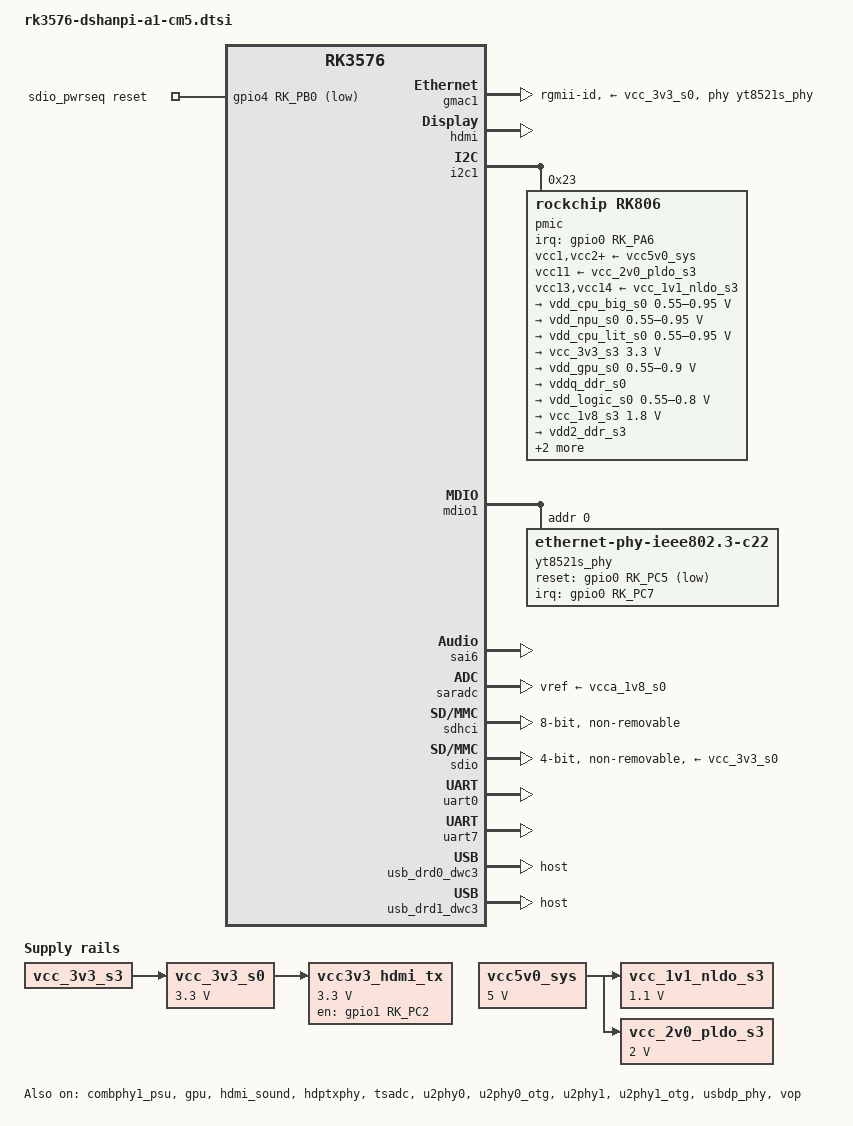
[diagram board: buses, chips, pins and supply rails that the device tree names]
// SPDX-License-Identifier: (GPL-2.0+ OR MIT)
/*
 * Copyright (c) 2026 sckiyo <sckiyo@outlook.com>
 *
 * 100ASK DshanPi A1 CM5 core module: RK3576 SoC, LPDDR4/4X,
 * optional eMMC, RK806S-5 PMIC, AIC8800D80 SDIO Wi-Fi + UART7 Bluetooth,
 * Motorcomm YT8521S GbE PHY on RGMII1.
 * The SoC HDMI port drives the Raspberry Pi HDMI0 pins.
 * Level shifters for those lanes sit on the module.
 * A carrier HDMI1 connector gets no HDMI signal from the module.
 * The module exposes three connectors, each numbered from 1.
 * CN1 and CN2 present the Raspberry Pi CM5 socket, positions 1-200.
 * CN1 holds positions 1-100. CN2 holds positions 101-200.
 * CN3 is a private module connector.
 * CN1 pin 19 is PWM1_CH0_M0 on GPIO0_B4.
 * CN1 pin 16 is open on the module.
 * PCIE0 CLKREQ is GPIO1_B6. PERST is GPIO1_B7. WAKE is GPIO0_C3.
 * GPIO1_C1 enables carrier USB VBUS.
 * GPIO4_C7 drives the activity LED.
 * Carrier devices live in the carrier .dts.
 */

#include <dt-bindings/gpio/gpio.h>
#include <dt-bindings/pinctrl/rockchip.h>
#include <dt-bindings/soc/rockchip,boot-mode.h>
#include <dt-bindings/soc/rockchip,vop2.h>
#include "rk3576.dtsi"

/ {
	aliases {
		ethernet0 = &gmac1;
		mmc0 = &sdhci;
		mmc1 = &sdmmc;
		mmc2 = &sdio;
	};

	sdio_pwrseq: sdio-pwrseq {
		compatible = "mmc-pwrseq-simple";
		pinctrl-names = "default";
		pinctrl-0 = <&wifi_reg_on_h>;
		post-power-on-delay-ms = <200>;
		reset-gpios = <&gpio4 RK_PB0 GPIO_ACTIVE_LOW>;
	};

	/* 5 V input from the carrier connector. */
	vcc5v0_sys: regulator-vcc5v0-sys {
		compatible = "regulator-fixed";
		regulator-always-on;
		regulator-boot-on;
		regulator-min-microvolt = <5000000>;
		regulator-max-microvolt = <5000000>;
		regulator-name = "vcc5v0_sys";
	};

	vcc_1v1_nldo_s3: regulator-vcc-1v1-nldo-s3 {
		compatible = "regulator-fixed";
		regulator-always-on;
		regulator-boot-on;
		regulator-min-microvolt = <1100000>;
		regulator-max-microvolt = <1100000>;
		regulator-name = "vcc_1v1_nldo_s3";
		vin-supply = <&vcc5v0_sys>;
	};

	vcc_2v0_pldo_s3: regulator-vcc-2v0-pldo-s3 {
		compatible = "regulator-fixed";
		regulator-always-on;
		regulator-boot-on;
		regulator-min-microvolt = <2000000>;
		regulator-max-microvolt = <2000000>;
		regulator-name = "vcc_2v0_pldo_s3";
		vin-supply = <&vcc5v0_sys>;
	};

	vcc_3v3_s0: regulator-vcc-3v3-s0 {
		compatible = "regulator-fixed";
		regulator-always-on;
		regulator-boot-on;
		regulator-min-microvolt = <3300000>;
		regulator-max-microvolt = <3300000>;
		regulator-name = "vcc_3v3_s0";
		vin-supply = <&vcc_3v3_s3>;
	};

	/* Enable for the HDMI level shifters (Q7-Q10, HDMI_TX_ON_H). */
	vcc3v3_hdmi_tx: regulator-vcc3v3-hdmi-tx {
		compatible = "regulator-fixed";
		enable-active-high;
		gpio = <&gpio1 RK_PC2 GPIO_ACTIVE_HIGH>;
		pinctrl-names = "default";
		pinctrl-0 = <&hdmi_tx_on_h>;
		regulator-always-on;
		regulator-boot-on;
		regulator-min-microvolt = <3300000>;
		regulator-max-microvolt = <3300000>;
		regulator-name = "vcc3v3_hdmi_tx";
		vin-supply = <&vcc_3v3_s0>;
	};
};

&combphy1_psu {
	status = "okay";
};

&cpu_b0 {
	cpu-supply = <&vdd_cpu_big_s0>;
};

&cpu_b1 {
	cpu-supply = <&vdd_cpu_big_s0>;
};

&cpu_b2 {
	cpu-supply = <&vdd_cpu_big_s0>;
};

&cpu_b3 {
	cpu-supply = <&vdd_cpu_big_s0>;
};

&cpu_l0 {
	cpu-supply = <&vdd_cpu_lit_s0>;
};

&cpu_l1 {
	cpu-supply = <&vdd_cpu_lit_s0>;
};

&cpu_l2 {
	cpu-supply = <&vdd_cpu_lit_s0>;
};

&cpu_l3 {
	cpu-supply = <&vdd_cpu_lit_s0>;
};

/*
 * YT8521S uses an on-module 25 MHz crystal.
 * The PHY adds 1.95 ns of TX and RX delay in rgmii-id mode.
 * Keep the MAC delays at 0. A non-zero MAC delay stacks on the PHY delay.
 * RGMII takes the MAC TX clock from the CRU. "input" selects the
 * ETH1_MCLK pad, which is not muxed, and the DMA reset then fails.
 */
&gmac1 {
	clock_in_out = "output";
	phy-handle = <&yt8521s_phy>;
	phy-mode = "rgmii-id";
	tx_delay = <0x00>;
	rx_delay = <0x00>;
	phy-supply = <&vcc_3v3_s0>;
	pinctrl-names = "default";
	pinctrl-0 = <&eth1m0_miim
		     &eth1m0_tx_bus2
		     &eth1m0_rx_bus2
		     &eth1m0_rgmii_clk
		     &eth1m0_rgmii_bus>;
	status = "okay";
};

&gpu {
	mali-supply = <&vdd_gpu_s0>;
	status = "okay";
};

&hdmi {
	pinctrl-names = "default";
	/* HDMI_TX_ON_H drives Q7-Q10. The vcc3v3_hdmi_tx regulator owns that pin. */
	pinctrl-0 = <&hdmi_txm0_pins &hdmi_tx_scl &hdmi_tx_sda>;
	status = "okay";
};

&hdmi_in {
	hdmi_in_vp0: endpoint {
		remote-endpoint = <&vp0_out_hdmi>;
	};
};

&hdmi_sound {
	status = "okay";
};

&hdptxphy {
	status = "okay";
};

&i2c1 {
	status = "okay";

	pmic@23 {
		compatible = "rockchip,rk806";
		reg = <0x23>;
		#gpio-cells = <2>;
		gpio-controller;
		interrupt-parent = <&gpio0>;
		interrupts = <RK_PA6 IRQ_TYPE_LEVEL_LOW>;
		pinctrl-names = "default";
		pinctrl-0 = <&pmic_pins
			     &rk806_dvs1_null
			     &rk806_dvs2_null
			     &rk806_dvs3_null>;
		system-power-controller;
		vcc1-supply = <&vcc5v0_sys>;
		vcc2-supply = <&vcc5v0_sys>;
		vcc3-supply = <&vcc5v0_sys>;
		vcc4-supply = <&vcc5v0_sys>;
		vcc5-supply = <&vcc5v0_sys>;
		vcc6-supply = <&vcc5v0_sys>;
		vcc7-supply = <&vcc5v0_sys>;
		vcc8-supply = <&vcc5v0_sys>;
		vcc9-supply = <&vcc5v0_sys>;
		vcc10-supply = <&vcc5v0_sys>;
		vcc11-supply = <&vcc_2v0_pldo_s3>;
		vcc12-supply = <&vcc5v0_sys>;
		vcc13-supply = <&vcc_1v1_nldo_s3>;
		vcc14-supply = <&vcc_1v1_nldo_s3>;
		vcca-supply = <&vcc5v0_sys>;

		rk806_dvs1_null: dvs1-null-pins {
			pins = "gpio_pwrctrl1";
			function = "pin_fun0";
		};

		rk806_dvs2_null: dvs2-null-pins {
			pins = "gpio_pwrctrl2";
			function = "pin_fun0";
		};

		rk806_dvs3_null: dvs3-null-pins {
			pins = "gpio_pwrctrl3";
			function = "pin_fun0";
		};

		regulators {
			vdd_cpu_big_s0: dcdc-reg1 {
				regulator-always-on;
				regulator-boot-on;
				regulator-enable-ramp-delay = <400>;
				regulator-min-microvolt = <550000>;
				regulator-max-microvolt = <950000>;
				regulator-name = "vdd_cpu_big_s0";
				regulator-ramp-delay = <12500>;
				regulator-state-mem {
					regulator-off-in-suspend;
				};
			};

			vdd_npu_s0: dcdc-reg2 {
				regulator-boot-on;
				regulator-enable-ramp-delay = <400>;
				regulator-min-microvolt = <550000>;
				regulator-max-microvolt = <950000>;
				regulator-name = "vdd_npu_s0";
				regulator-ramp-delay = <12500>;
				regulator-state-mem {
					regulator-off-in-suspend;
				};
			};

			vdd_cpu_lit_s0: dcdc-reg3 {
				regulator-always-on;
				regulator-boot-on;
				regulator-min-microvolt = <550000>;
				regulator-max-microvolt = <950000>;
				regulator-name = "vdd_cpu_lit_s0";
				regulator-ramp-delay = <12500>;
				regulator-state-mem {
					regulator-off-in-suspend;
					regulator-suspend-microvolt = <750000>;
				};
			};

			vcc_3v3_s3: dcdc-reg4 {
				regulator-always-on;
				regulator-boot-on;
				regulator-min-microvolt = <3300000>;
				regulator-max-microvolt = <3300000>;
				regulator-name = "vcc_3v3_s3";
				regulator-state-mem {
					regulator-on-in-suspend;
					regulator-suspend-microvolt = <3300000>;
				};
			};

			vdd_gpu_s0: dcdc-reg5 {
				regulator-boot-on;
				regulator-enable-ramp-delay = <400>;
				regulator-min-microvolt = <550000>;
				regulator-max-microvolt = <900000>;
				regulator-name = "vdd_gpu_s0";
				regulator-ramp-delay = <12500>;
				regulator-state-mem {
					regulator-off-in-suspend;
					regulator-suspend-microvolt = <850000>;
				};
			};

			vddq_ddr_s0: dcdc-reg6 {
				regulator-always-on;
				regulator-boot-on;
				regulator-name = "vddq_ddr_s0";
				regulator-state-mem {
					regulator-off-in-suspend;
				};
			};

			vdd_logic_s0: dcdc-reg7 {
				regulator-always-on;
				regulator-boot-on;
				regulator-min-microvolt = <550000>;
				regulator-max-microvolt = <800000>;
				regulator-name = "vdd_logic_s0";
				regulator-state-mem {
					regulator-off-in-suspend;
				};
			};

			vcc_1v8_s3: dcdc-reg8 {
				regulator-always-on;
				regulator-boot-on;
				regulator-min-microvolt = <1800000>;
				regulator-max-microvolt = <1800000>;
				regulator-name = "vcc_1v8_s3";
				regulator-state-mem {
					regulator-on-in-suspend;
					regulator-suspend-microvolt = <1800000>;
				};
			};

			vdd2_ddr_s3: dcdc-reg9 {
				regulator-always-on;
				regulator-boot-on;
				regulator-name = "vdd2_ddr_s3";
				regulator-state-mem {
					regulator-on-in-suspend;
				};
			};

			vdd_ddr_s0: dcdc-reg10 {
				regulator-always-on;
				regulator-boot-on;
				regulator-min-microvolt = <550000>;
				regulator-max-microvolt = <1200000>;
				regulator-name = "vdd_ddr_s0";
				regulator-state-mem {
					regulator-off-in-suspend;
				};
			};

			vcca_1v8_s0: pldo-reg1 {
				regulator-always-on;
				regulator-boot-on;
				regulator-min-microvolt = <1800000>;
				regulator-max-microvolt = <1800000>;
				regulator-name = "vcca_1v8_s0";
				regulator-state-mem {
					regulator-off-in-suspend;
				};
			};

			vcca1v8_pldo2_s0: pldo-reg2 {
				regulator-always-on;
				regulator-boot-on;
				regulator-min-microvolt = <1800000>;
				regulator-max-microvolt = <1800000>;
				regulator-name = "vcca1v8_pldo2_s0";
				regulator-state-mem {
					regulator-off-in-suspend;
				};
			};

			vdda_1v2_s0: pldo-reg3 {
				regulator-always-on;
				regulator-boot-on;
				regulator-min-microvolt = <1200000>;
				regulator-max-microvolt = <1200000>;
				regulator-name = "vdda_1v2_s0";
				regulator-state-mem {
					regulator-off-in-suspend;
				};
			};

			vcca_3v3_s0: pldo-reg4 {
				regulator-always-on;
				regulator-boot-on;
				regulator-min-microvolt = <3300000>;
				regulator-max-microvolt = <3300000>;
				regulator-name = "vcca_3v3_s0";
				regulator-state-mem {
					regulator-off-in-suspend;
				};
			};

			/*
			 * TF I/O rail. BootROM uses the 3.3 V default.
			 * Linux may switch this rail to 1.8 V for UHS.
			 */
			vccio_sd_s0: pldo-reg5 {
				regulator-always-on;
				regulator-boot-on;
				regulator-min-microvolt = <1800000>;
				regulator-max-microvolt = <3300000>;
				regulator-name = "vccio_sd_s0";
				regulator-state-mem {
					regulator-off-in-suspend;
				};
			};

			vcca1v8_pldo6_s3: pldo-reg6 {
				regulator-always-on;
				regulator-boot-on;
				regulator-min-microvolt = <1800000>;
				regulator-max-microvolt = <1800000>;
				regulator-name = "vcca1v8_pldo6_s3";
				regulator-state-mem {
					regulator-on-in-suspend;
					regulator-suspend-microvolt = <1800000>;
				};
			};

			vdd_0v75_s3: nldo-reg1 {
				regulator-always-on;
				regulator-boot-on;
				regulator-min-microvolt = <750000>;
				regulator-max-microvolt = <750000>;
				regulator-name = "vdd_0v75_s3";
				regulator-state-mem {
					regulator-on-in-suspend;
					regulator-suspend-microvolt = <750000>;
				};
			};

			vdda_ddr_pll_s0: nldo-reg2 {
				regulator-always-on;
				regulator-boot-on;
				regulator-min-microvolt = <850000>;
				regulator-max-microvolt = <850000>;
				regulator-name = "vdda_ddr_pll_s0";
				regulator-state-mem {
					regulator-off-in-suspend;
				};
			};

			vdda0v75_hdmi_s0: nldo-reg3 {
				regulator-always-on;
				regulator-boot-on;
				regulator-min-microvolt = <837500>;
				regulator-max-microvolt = <837500>;
				regulator-name = "vdda0v75_hdmi_s0";
				regulator-state-mem {
					regulator-off-in-suspend;
				};
			};

			vdda_0v85_s0: nldo-reg4 {
				regulator-always-on;
				regulator-boot-on;
				regulator-min-microvolt = <850000>;
				regulator-max-microvolt = <850000>;
				regulator-name = "vdda_0v85_s0";
				regulator-state-mem {
					regulator-off-in-suspend;
				};
			};

			vdda_0v75_s0: nldo-reg5 {
				regulator-always-on;
				regulator-boot-on;
				regulator-min-microvolt = <750000>;
				regulator-max-microvolt = <750000>;
				regulator-name = "vdda_0v75_s0";
				regulator-state-mem {
					regulator-off-in-suspend;
				};
			};
		};
	};
};

&mdio1 {
	yt8521s_phy: ethernet-phy@0 {
		compatible = "ethernet-phy-ieee802.3-c22";
		reg = <0>;
		interrupt-parent = <&gpio0>;
		interrupts = <RK_PC7 IRQ_TYPE_LEVEL_LOW>;
		pinctrl-names = "default";
		pinctrl-0 = <&gmac1_rstn>;
		reset-assert-us = <20000>;
		reset-deassert-us = <100000>;
		reset-gpios = <&gpio0 RK_PC5 GPIO_ACTIVE_LOW>;
	};
};

&pinctrl {
	gmac {
		gmac1_rstn: gmac1-rstn {
			rockchip,pins = <0 RK_PC5 RK_FUNC_GPIO &pcfg_pull_none>;
		};
	};

	hdmi {
		hdmi_tx_on_h: hdmi-tx-on-h {
			rockchip,pins = <1 RK_PC2 RK_FUNC_GPIO &pcfg_pull_none>;
		};
	};

	wifi {
		wifi_reg_on_h: wifi-reg-on-h {
			rockchip,pins = <4 RK_PB0 RK_FUNC_GPIO &pcfg_pull_none>;
		};
	};
};

/*
 * BOOT_BROM_DOWNLOAD in the boot mode register makes BootROM stay in Maskrom.
 * Run "systemctl reboot --reboot-argument=maskrom" to enter Maskrom.
 * Mainline U-Boot ignores the loader flag, so the DT has no loader mode.
 */
&pmu0_grf {
	reboot-mode {
		compatible = "syscon-reboot-mode";
		offset = <0x40>;
		mode-normal = <BOOT_NORMAL>;
		mode-maskrom = <0xef08a53c>;
	};
};

/*
 * SAI6 is the HDMI audio DAI.
 * The audio path stays inside the SoC.
 */
&sai6 {
	status = "okay";
};

&saradc {
	vref-supply = <&vcca_1v8_s0>;
	status = "okay";
};

&sdhci {
	bus-width = <8>;
	full-pwr-cycle-in-suspend;
	max-frequency = <200000000>;
	mmc-hs400-1_8v;
	mmc-hs400-enhanced-strobe;
	no-sdio;
	no-sd;
	non-removable;
	status = "okay";
};

/*
 * The SDIO pins sit in the VCCIO4 domain.
 * VCCIO4 and the AIC8800D80 VDDIO are both 3.3 V.
 * UHS modes need 1.8 V signaling. Use High Speed at 50 MHz.
 * Do not point vqmmc-supply at a 1.8 V rail to force UHS.
 * The bus stays at 3.3 V, so UHS then runs out of spec.
 */
&sdio {
	bus-width = <4>;
	cap-sd-highspeed;
	cap-sdio-irq;
	disable-wp;
	keep-power-in-suspend;
	max-frequency = <50000000>;
	mmc-pwrseq = <&sdio_pwrseq>;
	no-sd;
	no-mmc;
	non-removable;
	vmmc-supply = <&vcc_3v3_s0>;
	vqmmc-supply = <&vcc_3v3_s0>;
	pinctrl-0 = <&sdmmc1m1_bus4 &sdmmc1m1_clk &sdmmc1m1_cmd>;
	wakeup-source;
	status = "okay";
};

&tsadc {
	status = "okay";
};

&u2phy0 {
	status = "okay";
};

&u2phy0_otg {
	status = "okay";
};

&u2phy1 {
	status = "okay";
};

&u2phy1_otg {
	status = "okay";
};

&uart0 {
	pinctrl-names = "default";
	pinctrl-0 = <&uart0m0_xfer>;
	status = "okay";
};

/* AIC8800D80 Bluetooth. */
&uart7 {
	pinctrl-0 = <&uart7m0_xfer &uart7m0_ctsn &uart7m0_rtsn>;
	uart-has-rtscts;
	status = "okay";
};

/*
 * The module has no Type-C PD controller.
 * The CC lines go straight to the carrier connector.
 * Both USB controllers run in fixed host mode.
 * A carrier with a PD controller overrides dr_mode.
 */
&usb_drd0_dwc3 {
	dr_mode = "host";
	status = "okay";
};

&usb_drd1_dwc3 {
	dr_mode = "host";
	status = "okay";
};

&usbdp_phy {
	status = "okay";
};

&vop {
	status = "okay";
};

&vop_mmu {
	status = "okay";
};

&vp0 {
	vp0_out_hdmi: endpoint@ROCKCHIP_VOP2_EP_HDMI0 {
		reg = <ROCKCHIP_VOP2_EP_HDMI0>;
		remote-endpoint = <&hdmi_in_vp0>;
	};
};
